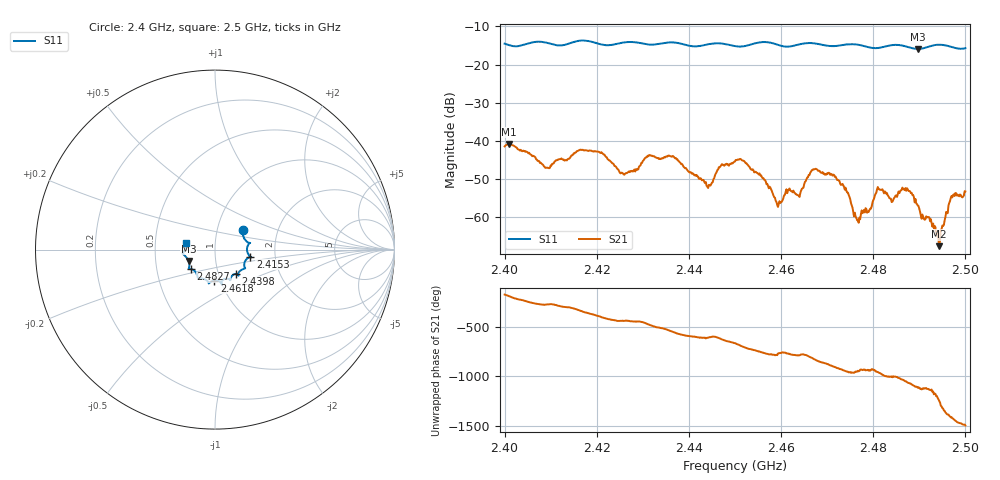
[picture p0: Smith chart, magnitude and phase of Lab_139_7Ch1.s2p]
# Hz S RI R 50
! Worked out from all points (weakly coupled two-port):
!   601 points, 2.4 GHz to 2.5 GHz, reference 50 ohm
!   highest |S21| = -40.78 dB at 2.401 GHz (marker M1); lowest = -67.6 dB at 2.4943 GHz (marker M2)
!   lowest |S11| = -15.9 dB at 2.4897 GHz (marker M3), VSWR 1.38, Z = 36.9 - j4.83 ohm
!   |S11| at or under -10 dB: start of sweep to end of sweep
!   S12 and S22 are empty: the file has one direction only
!   S11 on the Smith chart (normalised r, x): 2.4 GHz: 1.33, +0.29; 2.4153 GHz: 1.48, -0.12; 2.4398 GHz: 1.21, -0.34; 2.4618 GHz: 0.94, -0.33; 2.4827 GHz: 0.75, -0.17; 2.5 GHz: 0.72, +0.06
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2.4e9  0.1551 0.1066  -0.00846 -0.000422  0 0  0 0
2.401e9  0.1551 0.0911  -0.00884 0.00234  0 0  0 0
2.409333e9  0.1893 0.0325  0.000549 0.00441  0 0  0 0
2.415333e9  0.1965 -0.0391  0.00552 0.00437  0 0  0 0
2.416667e9  0.2023 -0.0429  0.00727 0.0023  0 0  0 0
2.425667e9  0.1663 -0.1005  0.000655 -0.00371  0 0  0 0
2.433333e9  0.1296 -0.1341  -0.00503 -0.00322  0 0  0 0
2.439833e9  0.1152 -0.1357  -0.00236 0.00322  0 0  0 0
2.444333e9  0.0845 -0.1652  -0.000955 0.00247  0 0  0 0
2.45e9  0.065 -0.1622  0.00324 0.00428  0 0  0 0
2.459333e9  0.0279 -0.179  0.00089 -0.00103  0 0  0 0
2.461833e9  -0.00326 -0.1727  0.00144 -0.00189  0 0  0 0
2.466667e9  -0.0348 -0.1881  -0.000266 -0.00412  0 0  0 0
2.471833e9  -0.0684 -0.1614  -0.00337 0.000452  0 0  0 0
2.476667e9  -0.0962 -0.1549  -0.000664 0.000638  0 0  0 0
2.482667e9  -0.1347 -0.1086  0.000303 0.00211  0 0  0 0
2.483333e9  -0.1399 -0.1083  0.000355 0.00184  0 0  0 0
2.486833e9  -0.1439 -0.0989  0.00188 0.00126  0 0  0 0
2.489667e9  -0.1472 -0.0637  0.00116 -0.000814  0 0  0 0
2.494333e9  -0.1809 -0.0212  -0.000408 -8.65e-05  0 0  0 0
2.497e9  -0.1702 -0.00717  0.00164 0.000945  0 0  0 0
2.5e9  -0.1594 0.039  0.00129 -0.00175  0 0  0 0
